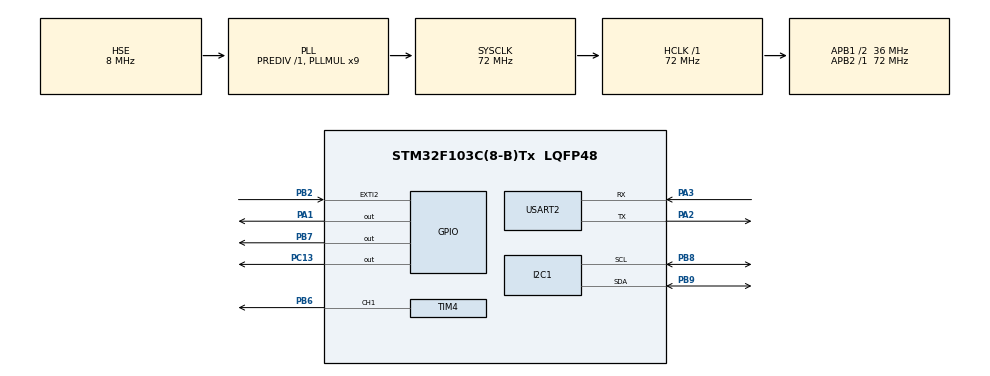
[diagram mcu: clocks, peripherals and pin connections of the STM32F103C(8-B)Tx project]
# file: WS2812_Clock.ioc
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Dma.Request0=USART2_TX
Dma.USART2_TX.0.Direction=DMA_MEMORY_TO_PERIPH
Dma.USART2_TX.0.Instance=DMA1_Channel7
Dma.USART2_TX.0.MemDataAlignment=DMA_MDATAALIGN_BYTE
Dma.USART2_TX.0.MemInc=DMA_MINC_ENABLE
Dma.USART2_TX.0.Mode=DMA_NORMAL
Dma.USART2_TX.0.PeriphDataAlignment=DMA_PDATAALIGN_BYTE
Dma.USART2_TX.0.PeriphInc=DMA_PINC_DISABLE
Dma.USART2_TX.0.Priority=DMA_PRIORITY_LOW
Mcu.Family=STM32F1
Mcu.Name=STM32F103C(8-B)Tx
Mcu.Package=LQFP48
NVIC.DMA1_Channel7_IRQn=true\:0\:0\:false\:false\:true
NVIC.EXTI2_IRQn=true\:0\:0\:true\:true\:true\:2
NVIC.PriorityGroup=NVIC_PRIORITYGROUP_4
NVIC.RCC_IRQn=true\:0\:0\:false\:false\:true
NVIC.RTC_IRQn=true\:0\:0\:true\:true\:true\:3
NVIC.USART2_IRQn=true\:0\:0\:false\:true\:true\:1
PA1.Signal=GPIO_Output
PA13.Mode=Serial_Wire
PA13.Signal=SYS_JTMS-SWDIO
PA14.Mode=Serial_Wire
PA14.Signal=SYS_JTCK-SWCLK
PA2.Mode=Asynchronous
PA2.Signal=USART2_TX
PA3.Mode=Asynchronous
PA3.Signal=USART2_RX
PB2.GPIO_PuPd=GPIO_NOPULL
PB2.Signal=GPXTI2
PB6.Signal=S_TIM4_CH1
PB7.Signal=GPIO_Output
PB8.Mode=I2C
PB8.Signal=I2C1_SCL
PB9.Mode=I2C
PB9.Signal=I2C1_SDA
PC13-TAMPER-RTC.Signal=GPIO_Output
PC14-OSC32_IN.Mode=LSE-External-Oscillator
PC14-OSC32_IN.Signal=RCC_OSC32_IN
PC15-OSC32_OUT.Mode=LSE-External-Oscillator
PC15-OSC32_OUT.Signal=RCC_OSC32_OUT
PD0-OSC_IN.Mode=HSE-External-Oscillator
PD0-OSC_IN.Signal=RCC_OSC_IN
PD1-OSC_OUT.Mode=HSE-External-Oscillator
PD1-OSC_OUT.Signal=RCC_OSC_OUT
ProjectManager.TargetToolchain=SW4STM32
RCC.ADCPresc=RCC_ADCPCLK2_DIV6
RCC.AHBFreq_Value=72000000
RCC.APB1CLKDivider=RCC_HCLK_DIV2
RCC.APB1Freq_Value=36000000
RCC.APB1TimFreq_Value=72000000
RCC.APB2Freq_Value=72000000
RCC.APB2TimFreq_Value=72000000
RCC.EnbaleCSS=true
RCC.HCLKFreq_Value=72000000
RCC.HSIState=RCC_HSI_ON
RCC.PLLMUL=RCC_PLL_MUL9
RCC.PLLSourceVirtual=RCC_PLLSOURCE_HSE
RCC.RTCClockSelection=RCC_RTCCLKSOURCE_LSE
RCC.SYSCLKFreq_VALUE=72000000
RCC.SYSCLKSource=RCC_SYSCLKSOURCE_PLLCLK
RCC.USBFreq_Value=48000000
RCC.USBPrescaler=RCC_USBCLKSOURCE_PLL_DIV1_5
RTC.Date=12
RTC.Format=RTC_FORMAT_BCD
RTC.Hours=3
RTC.Month=RTC_MONTH_SEPTEMBER
RTC.Year=16
SH.S_TIM4_CH1.0=TIM4_CH1,PWM Generation1 CH1
TIM4.Period=200
TIM4.Prescaler=128
TIM4.TIM_MasterOutputTrigger=TIM_TRGO_UPDATE
VP_RTC_No_RTC_Output.Mode=RTC_OUT_NO
board=WS2812_Clock

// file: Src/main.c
#include "stm32f1xx_hal.h"

/* USER CODE BEGIN Includes */
#include <string.h>
#include <errno.h>
#include "WS2812.h"
#include "bme280.h"

/* USER CODE END Includes */

I2C_HandleTypeDef hi2c1;

RTC_HandleTypeDef hrtc;

TIM_HandleTypeDef htim4;

UART_HandleTypeDef huart2;
DMA_HandleTypeDef hdma_usart2_tx;

/* USER CODE BEGIN PV */
RTC_TimeTypeDef sTime;
/* USER CODE END PV */
void SystemClock_Config(void);
void Error_Handler(void);
static void MX_GPIO_Init(void);
static void MX_DMA_Init(void);
static void MX_I2C1_Init(void);
static void MX_RTC_Init(void);
static void MX_TIM4_Init(void);
static void MX_USART2_UART_Init(void);
static void MX_NVIC_Init(void);
void HAL_TIM_MspPostInit(TIM_HandleTypeDef *htim);
/* USER CODE BEGIN PFP */
caddr_t _sbrk(int incr);
/* USER CODE END PFP */
/* USER CODE BEGIN 0 */
char datDebug[30];
/* USER CODE END 0 */

int main(void)
{

	/* USER CODE BEGIN 1 */
	//HAL_UART_Transmit(&huart2,datDebug,sizeof(datDebug),100);
	/* USER CODE END 1 */

	/* MCU Configuration----------------------------------------------------------*/

	/* Reset of all peripherals, Initializes the Flash interface and the Systick. */
	HAL_Init();

	/* Configure the system clock */
	SystemClock_Config();

	/* Initialize all configured peripherals */
	MX_GPIO_Init();
	MX_DMA_Init();
	MX_I2C1_Init();
	MX_RTC_Init();
	MX_TIM4_Init();
	MX_USART2_UART_Init();

	/* Initialize interrupts */
	MX_NVIC_Init();

	/* USER CODE BEGIN 2 */
	uint16_t temps1S;
	uint8_t clockDisp[180] = {0};
	bme_structTypedef tempHumPress;

	HAL_UART_Receive_IT(&huart2, datDebug, 1);
	HAL_GPIO_WritePin(GPIOA, GPIO_PIN_1, 1);

	HAL_TIM_PWM_Start(&htim4, TIM_CHANNEL_1);
	bme280_init();
	/* USER CODE END 2 */

	/* Infinite loop */
	/* USER CODE BEGIN WHILE */
	while (1)
	{
		__HAL_TIM_SET_COMPARE(&htim4,TIM_CHANNEL_1,0x10); //(HAL_GetTick()>>4)%200);

		if ((uint16_t)(HAL_GetTick() - temps1S) >= (uint16_t) 1000)
		{
			HAL_GPIO_TogglePin(GPIOC, GPIO_PIN_13);
			temps1S = HAL_GetTick();
			HAL_RTC_GetTime(&hrtc, &sTime, RTC_FORMAT_BIN);
			sprintf(datDebug, "Temps: %02u:%02u:%02u\n", sTime.Hours, sTime.Minutes, sTime.Seconds);
			HAL_UART_Transmit_DMA(&huart2, datDebug, strlen(datDebug));

			bme280_read(&tempHumPress);
			sprintf(datDebug, "Hum: %ld, Press:%ld, Temp:%2.2f\n", tempHumPress.hum, tempHumPress.press/100, (double)tempHumPress.temp/100.0);
			HAL_UART_Transmit_DMA(&huart2, datDebug, strlen(datDebug));

			for (int i = 0; i < 180; ++i)
				clockDisp[i] = 1;
			clockDisp[sTime.Hours * 15 + 0] = 1;
			clockDisp[sTime.Minutes * 3 + 1] = 1;
			clockDisp[sTime.Seconds * 3 + 2] = 1;
			ws2812_sendarray(clockDisp, 180);
		}
	}
	/* USER CODE END WHILE */

}

/** System Clock Configuration
 */
void SystemClock_Config(void)
{

	RCC_OscInitTypeDef RCC_OscInitStruct;
	RCC_ClkInitTypeDef RCC_ClkInitStruct;
	RCC_PeriphCLKInitTypeDef PeriphClkInit;

	RCC_OscInitStruct.OscillatorType = RCC_OSCILLATORTYPE_HSE
			| RCC_OSCILLATORTYPE_LSE;
	RCC_OscInitStruct.HSEState = RCC_HSE_ON;
	RCC_OscInitStruct.HSEPredivValue = RCC_HSE_PREDIV_DIV1;
	RCC_OscInitStruct.LSEState = RCC_LSE_ON;
	RCC_OscInitStruct.PLL.PLLState = RCC_PLL_ON;
	RCC_OscInitStruct.PLL.PLLSource = RCC_PLLSOURCE_HSE;
	RCC_OscInitStruct.PLL.PLLMUL = RCC_PLL_MUL9;
	if (HAL_RCC_OscConfig(&RCC_OscInitStruct) != HAL_OK)
	{
		Error_Handler();
	}

	RCC_ClkInitStruct.ClockType = RCC_CLOCKTYPE_HCLK | RCC_CLOCKTYPE_SYSCLK
			| RCC_CLOCKTYPE_PCLK1 | RCC_CLOCKTYPE_PCLK2;
	RCC_ClkInitStruct.SYSCLKSource = RCC_SYSCLKSOURCE_PLLCLK;
	RCC_ClkInitStruct.AHBCLKDivider = RCC_SYSCLK_DIV1;
	RCC_ClkInitStruct.APB1CLKDivider = RCC_HCLK_DIV2;
	RCC_ClkInitStruct.APB2CLKDivider = RCC_HCLK_DIV1;
	if (HAL_RCC_ClockConfig(&RCC_ClkInitStruct, FLASH_LATENCY_2) != HAL_OK)
	{
		Error_Handler();
	}

	PeriphClkInit.PeriphClockSelection = RCC_PERIPHCLK_RTC;
	PeriphClkInit.RTCClockSelection = RCC_RTCCLKSOURCE_LSE;
	if (HAL_RCCEx_PeriphCLKConfig(&PeriphClkInit) != HAL_OK)
	{
		Error_Handler();
	}

	HAL_RCC_EnableCSS();

	HAL_SYSTICK_Config(HAL_RCC_GetHCLKFreq() / 1000);

	HAL_SYSTICK_CLKSourceConfig(SYSTICK_CLKSOURCE_HCLK);

	/* SysTick_IRQn interrupt configuration */
	HAL_NVIC_SetPriority(SysTick_IRQn, 0, 0);
}

/** NVIC Configuration
 */
static void MX_NVIC_Init(void)
{
	/* USART2_IRQn interrupt configuration */
	HAL_NVIC_SetPriority(USART2_IRQn, 0, 0);
	HAL_NVIC_EnableIRQ(USART2_IRQn);
	/* EXTI2_IRQn interrupt configuration */
	HAL_NVIC_SetPriority(EXTI2_IRQn, 0, 0);
	HAL_NVIC_EnableIRQ(EXTI2_IRQn);
	/* RTC_IRQn interrupt configuration */
	HAL_NVIC_SetPriority(RTC_IRQn, 0, 0);
	HAL_NVIC_EnableIRQ(RTC_IRQn);
}

/* I2C1 init function */
static void MX_I2C1_Init(void)
{

	hi2c1.Instance = I2C1;
	hi2c1.Init.ClockSpeed = 100000;
	hi2c1.Init.DutyCycle = I2C_DUTYCYCLE_2;
	hi2c1.Init.OwnAddress1 = 0;
	hi2c1.Init.AddressingMode = I2C_ADDRESSINGMODE_7BIT;
	hi2c1.Init.DualAddressMode = I2C_DUALADDRESS_DISABLE;
	hi2c1.Init.OwnAddress2 = 0;
	hi2c1.Init.GeneralCallMode = I2C_GENERALCALL_DISABLE;
	hi2c1.Init.NoStretchMode = I2C_NOSTRETCH_DISABLE;
	if (HAL_I2C_Init(&hi2c1) != HAL_OK)
	{
		Error_Handler();
	}

}

/* RTC init function */
static void MX_RTC_Init(void)
{

//  RTC_TimeTypeDef sTime;
	RTC_DateTypeDef DateToUpdate;

	/**Initialize RTC and set the Time and Date
	 */
	hrtc.Instance = RTC;
	hrtc.Init.AsynchPrediv = RTC_AUTO_1_SECOND;
	hrtc.Init.OutPut = RTC_OUTPUTSOURCE_NONE;
	if (HAL_RTC_Init(&hrtc) != HAL_OK)
	{
		Error_Handler();
	}

	sTime.Hours = 0x6;
	sTime.Minutes = 0x32;
	sTime.Seconds = 0x0;

	if (HAL_RTC_SetTime(&hrtc, &sTime, RTC_FORMAT_BCD) != HAL_OK)
	{
		Error_Handler();
	}

	DateToUpdate.WeekDay = RTC_WEEKDAY_MONDAY;
	DateToUpdate.Month = RTC_MONTH_SEPTEMBER;
	DateToUpdate.Date = 0x12;
	DateToUpdate.Year = 0x16;

	if (HAL_RTC_SetDate(&hrtc, &DateToUpdate, RTC_FORMAT_BCD) != HAL_OK)
	{
		Error_Handler();
	}

}

/* TIM4 init function */
static void MX_TIM4_Init(void)
{

	TIM_MasterConfigTypeDef sMasterConfig;
	TIM_OC_InitTypeDef sConfigOC;

	htim4.Instance = TIM4;
	htim4.Init.Prescaler = 128;
	htim4.Init.CounterMode = TIM_COUNTERMODE_UP;
	htim4.Init.Period = 200;
	htim4.Init.ClockDivision = TIM_CLOCKDIVISION_DIV1;
	if (HAL_TIM_PWM_Init(&htim4) != HAL_OK)
	{
		Error_Handler();
	}

	sMasterConfig.MasterOutputTrigger = TIM_TRGO_UPDATE;
	sMasterConfig.MasterSlaveMode = TIM_MASTERSLAVEMODE_DISABLE;
	if (HAL_TIMEx_MasterConfigSynchronization(&htim4, &sMasterConfig) != HAL_OK)
	{
		Error_Handler();
	}

	sConfigOC.OCMode = TIM_OCMODE_PWM1;
	sConfigOC.Pulse = 0;
	sConfigOC.OCPolarity = TIM_OCPOLARITY_HIGH;
	sConfigOC.OCFastMode = TIM_OCFAST_DISABLE;
	if (HAL_TIM_PWM_ConfigChannel(&htim4, &sConfigOC, TIM_CHANNEL_1) != HAL_OK)
	{
		Error_Handler();
	}

	HAL_TIM_MspPostInit(&htim4);

}

/* USART2 init function */
static void MX_USART2_UART_Init(void)
{

	huart2.Instance = USART2;
	huart2.Init.BaudRate = 115200;
	huart2.Init.WordLength = UART_WORDLENGTH_8B;
	huart2.Init.StopBits = UART_STOPBITS_1;
	huart2.Init.Parity = UART_PARITY_NONE;
	huart2.Init.Mode = UART_MODE_TX_RX;
	huart2.Init.HwFlowCtl = UART_HWCONTROL_NONE;
	huart2.Init.OverSampling = UART_OVERSAMPLING_16;
	if (HAL_UART_Init(&huart2) != HAL_OK)
	{
		Error_Handler();
	}

}

static void MX_DMA_Init(void)
{
	/* DMA controller clock enable */
	__HAL_RCC_DMA1_CLK_ENABLE();

	/* DMA interrupt init */
	/* DMA1_Channel7_IRQn interrupt configuration */
	HAL_NVIC_SetPriority(DMA1_Channel7_IRQn, 0, 0);
	HAL_NVIC_EnableIRQ(DMA1_Channel7_IRQn);

}

/** Configure pins as
 * Analog
 * Input
 * Output
 * EVENT_OUT
 * EXTI
 */
static void MX_GPIO_Init(void)
{

	GPIO_InitTypeDef GPIO_InitStruct;

	/* GPIO Ports Clock Enable */__HAL_RCC_GPIOC_CLK_ENABLE();
	__HAL_RCC_GPIOD_CLK_ENABLE();
	__HAL_RCC_GPIOA_CLK_ENABLE();
	__HAL_RCC_GPIOB_CLK_ENABLE();

	/*Configure GPIO pin Output Level */
	HAL_GPIO_WritePin(GPIOC, GPIO_PIN_13, GPIO_PIN_RESET);

	/*Configure GPIO pin Output Level */
	HAL_GPIO_WritePin(GPIOA, GPIO_PIN_1, GPIO_PIN_RESET);

	/*Configure GPIO pin Output Level */
	HAL_GPIO_WritePin(GPIOB, GPIO_PIN_7, GPIO_PIN_RESET);

	/*Configure GPIO pin : PC13 */
	GPIO_InitStruct.Pin = GPIO_PIN_13;
	GPIO_InitStruct.Mode = GPIO_MODE_OUTPUT_PP;
	GPIO_InitStruct.Speed = GPIO_SPEED_FREQ_LOW;
	HAL_GPIO_Init(GPIOC, &GPIO_InitStruct);

	/*Configure GPIO pin : PA1 */
	GPIO_InitStruct.Pin = GPIO_PIN_1;
	GPIO_InitStruct.Mode = GPIO_MODE_OUTPUT_PP;
	GPIO_InitStruct.Speed = GPIO_SPEED_FREQ_LOW;
	HAL_GPIO_Init(GPIOA, &GPIO_InitStruct);

	/*Configure GPIO pin : PB2 */
	GPIO_InitStruct.Pin = GPIO_PIN_2;
	GPIO_InitStruct.Mode = GPIO_MODE_IT_RISING;
	GPIO_InitStruct.Pull = GPIO_NOPULL;
	HAL_GPIO_Init(GPIOB, &GPIO_InitStruct);

	/*Configure GPIO pin : PB7 */
	GPIO_InitStruct.Pin = GPIO_PIN_7;
	GPIO_InitStruct.Mode = GPIO_MODE_OUTPUT_PP;
	GPIO_InitStruct.Speed = GPIO_SPEED_FREQ_LOW;
	HAL_GPIO_Init(GPIOB, &GPIO_InitStruct);

}

/* USER CODE BEGIN 4 */
caddr_t _sbrk(int incr)
{
	extern char _ebss; // Defined by the linker
	static char *heap_end;
	char *prev_heap_end;
	if (heap_end == 0)
	{
		heap_end = &_ebss;
	}
	prev_heap_end = heap_end;
	char * stack = (char*) __get_MSP();
	if (heap_end + incr > stack)
	{
		errno = ENOMEM;
//    return (caddr_t) —1;
	}
	heap_end += incr;
	return (caddr_t) prev_heap_end;
}
/* USER CODE END 4 */

void Error_Handler(void)
{
}

/************************ (C) COPYRIGHT STMicroelectronics *****END OF FILE****/
